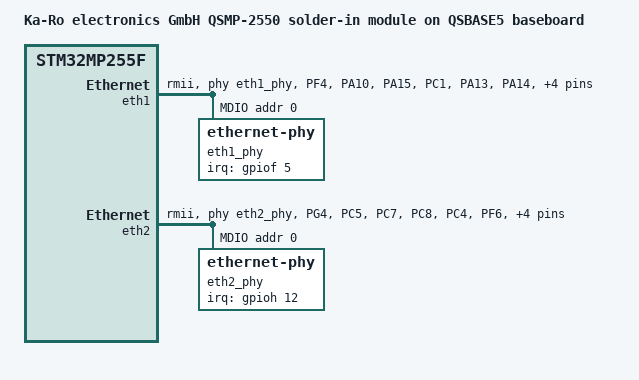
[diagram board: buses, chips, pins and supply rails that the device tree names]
// SPDX-License-Identifier: (GPL-2.0-or-later OR BSD-2-Clause)
/*
 * Copyright (C) 2024 Lothar Waßmann <LW@KARO-electronics.de>
 */

#include "stm32mp255f-qsmp-2550.dts"

/ {
	model = "Ka-Ro electronics GmbH QSMP-2550 solder-in module on QSBASE5 baseboard";
};

&eth1 {
	pinctrl-names = "default", "sleep";
	pinctrl-0 = <&eth1_mdio_pins &eth1_rmii_pins>;
	pinctrl-1 = <&eth1_mdio_sleep_pins &eth1_rmii_sleep_pins>;
	phy-mode = "rmii";
	phy-reset-gpios = <&gpiob 2 GPIO_ACTIVE_LOW>;
	phy-reset-delay-us = <10000>;
	phy-reset-post-delay-us = <100>;
	phy-handle = <&eth1_phy>;
	status = "okay";

	mdio {
		#address-cells = <1>;
		#size-cells = <0>;
		compatible = "snps,dwmac-mdio";

		eth1_phy: ethernet-phy@0 {
			reg = <0>;
			interrupt-parent = <&gpiof>;
			interrupts = <5 IRQ_TYPE_EDGE_FALLING>;
			smsc,disable-energy-detect;
		};
	};
};

&eth2 {
	pinctrl-names = "default", "sleep";
	pinctrl-0 = <&eth2_mdio_pins &eth2_rmii_pins>;
	pinctrl-1 = <&eth2_mdio_sleep_pins &eth2_rmii_sleep_pins>;
	phy-mode = "rmii";
	phy-reset-gpios = <&gpioh 13 GPIO_ACTIVE_LOW>;
	phy-reset-delay-us = <10000>;
	phy-reset-post-delay-us = <100>;
	phy-handle = <&eth2_phy>;
	status = "okay";

	mdio {
		#address-cells = <1>;
		#size-cells = <0>;

		eth2_phy: ethernet-phy@0 {
			reg = <0>;
			interrupt-parent = <&gpioh>;
			interrupts = <12 IRQ_TYPE_EDGE_FALLING>;
			smsc,disable-energy-detect;
		};
	};
};

&pinctrl {
	eth1_mdio_pins: eth1-mdio-pins {
		pins1 {
			pinmux = <STM32_PINMUX('F', 4, AF8)>; /* ETH1_MDC */
			bias-disable;
			drive-push-pull;
			slew-rate = <2>;
		};

		pins2 {
			pinmux = <STM32_PINMUX('A', 10, AF10)>; /* ETH1_MDIO */
			bias-disable;
			drive-push-pull;
			slew-rate = <0>;
		};
	};

	eth1_mdio_sleep_pins: eth1-mdio-sleep-pins {
		pins1 {
			pinmux = <STM32_PINMUX('F', 4, ANALOG)>, /* ETH1_MDC */
				 <STM32_PINMUX('A', 10, ANALOG)>; /* ETH1_MDIO */
		};
	};

	eth1_rmii_pins: eth1-rmii-pins {
		pins1 {
			pinmux = <
				  STM32_PINMUX('A', 15, AF10) /* ETH1_RMII_TXD0 */
				  STM32_PINMUX('C', 1, AF10) /* ETH1_RMII_TXD1 */
				  STM32_PINMUX('A', 13, AF10) /* ETH1_RMII_TX_EN */
			>;
			bias-disable;
			drive-push-pull;
			slew-rate = <3>;
		};

		pins2 {
			pinmux = <
				  STM32_PINMUX('A', 14, AF10) /* ETH1_REF_CLK */
			>;
			bias-disable;
		};

		/* LAN8710 strap pins */
		pins3 {
			pinmux = <
				  STM32_PINMUX('F', 1, AF10) /* ETH1_RMII_RXD0 | MODE0 */
				  STM32_PINMUX('C', 2, AF10) /* ETH1_RMII_RXD1 | MODE1 */
				  STM32_PINMUX('A', 11, AF10) /* ETH1_RMII_CRS_DV | MODE2 */
			>;
			bias-pull-up;
		};
	};

	eth1_rmii_sleep_pins: eth1-rmii-sleep-pins {
		pins {
			pinmux = <
				  STM32_PINMUX('A', 14, ANALOG) /* ETH1_REF_CLK */
				  STM32_PINMUX('A', 15, ANALOG) /* ETH1_RMII_TXD0 */
				  STM32_PINMUX('C', 1, ANALOG) /* ETH1_RMII_TXD1 */
				  STM32_PINMUX('A', 13, ANALOG) /* ETH1_RMII_TX_EN */
				  STM32_PINMUX('F', 1, ANALOG) /* ETH1_RMII_RXD0 */
				  STM32_PINMUX('C', 2, ANALOG) /* ETH1_RMII_RXD1 */
				  STM32_PINMUX('A', 11, ANALOG) /* ETH1_RMII_CRS_DV */
			>;
		};
	};

	eth2_mdio_pins: eth2-mdio-pins {
		pins1 {
			pinmux = <STM32_PINMUX('G', 4, AF11)>; /* ETH2_MDC */
			bias-disable;
			drive-push-pull;
			slew-rate = <2>;
		};

		pins2 {
			pinmux = <STM32_PINMUX('C', 5, AF10)>; /* ETH2_MDIO */
			bias-disable;
			drive-push-pull;
			slew-rate = <0>;
		};
	};

	eth2_mdio_sleep_pins: eth2-mdio-sleep-pins {
		pins1 {
			pinmux = <STM32_PINMUX('G', 4, ANALOG)>, /* ETH2_MDC */
				 <STM32_PINMUX('C', 5, ANALOG)>; /* ETH2_MDIO */
		};
	};

	eth2_rmii_pins: eth2-rmii-pins {
		pins1 {
			pinmux = <
				  STM32_PINMUX('C', 7, AF10) /* ETH2_RMII_TXD0 */
				  STM32_PINMUX('C', 8, AF10) /* ETH2_RMII_TXD1 */
				  STM32_PINMUX('C', 4, AF10) /* ETH2_RMII_TX_EN */
			>;
			bias-disable;
			drive-push-pull;
			slew-rate = <3>;
		};

		pins2 {
			pinmux = <
				  STM32_PINMUX('F', 6, AF10) /* ETH2_REF_CLK */
			>;
			bias-disable;
		};

		/* LAN8710 strap pins */
		pins3 {
			pinmux = <
				  STM32_PINMUX('G', 0, AF10) /* ETH2_RMII_RXD0 | MODE0 */
				  STM32_PINMUX('C', 12, AF10) /* ETH2_RMII_RXD1 | MODE1 */
				  STM32_PINMUX('C', 3, AF10) /* ETH2_RMII_CRS_DV | MODE2 */
			>;
			bias-pull-up;
		};
	};

	eth2_rmii_sleep_pins: eth2-rmii-sleep-pins {
		pins {
			pinmux = <
				  STM32_PINMUX('F', 6, ANALOG) /* ETH2_REF_CLK */
				  STM32_PINMUX('C', 7, ANALOG) /* ETH2_RMII_TXD0 */
				  STM32_PINMUX('C', 8, ANALOG) /* ETH2_RMII_TXD1 */
				  STM32_PINMUX('C', 4, ANALOG) /* ETH2_RMII_TX_EN */
				  STM32_PINMUX('G', 0, ANALOG) /* ETH2_RMII_RXD0 */
				  STM32_PINMUX('C', 12, ANALOG) /* ETH2_RMII_RXD1 */
				  STM32_PINMUX('C', 3, ANALOG) /* ETH2_RMII_CRS_DV */
			>;
		};
	};
};
